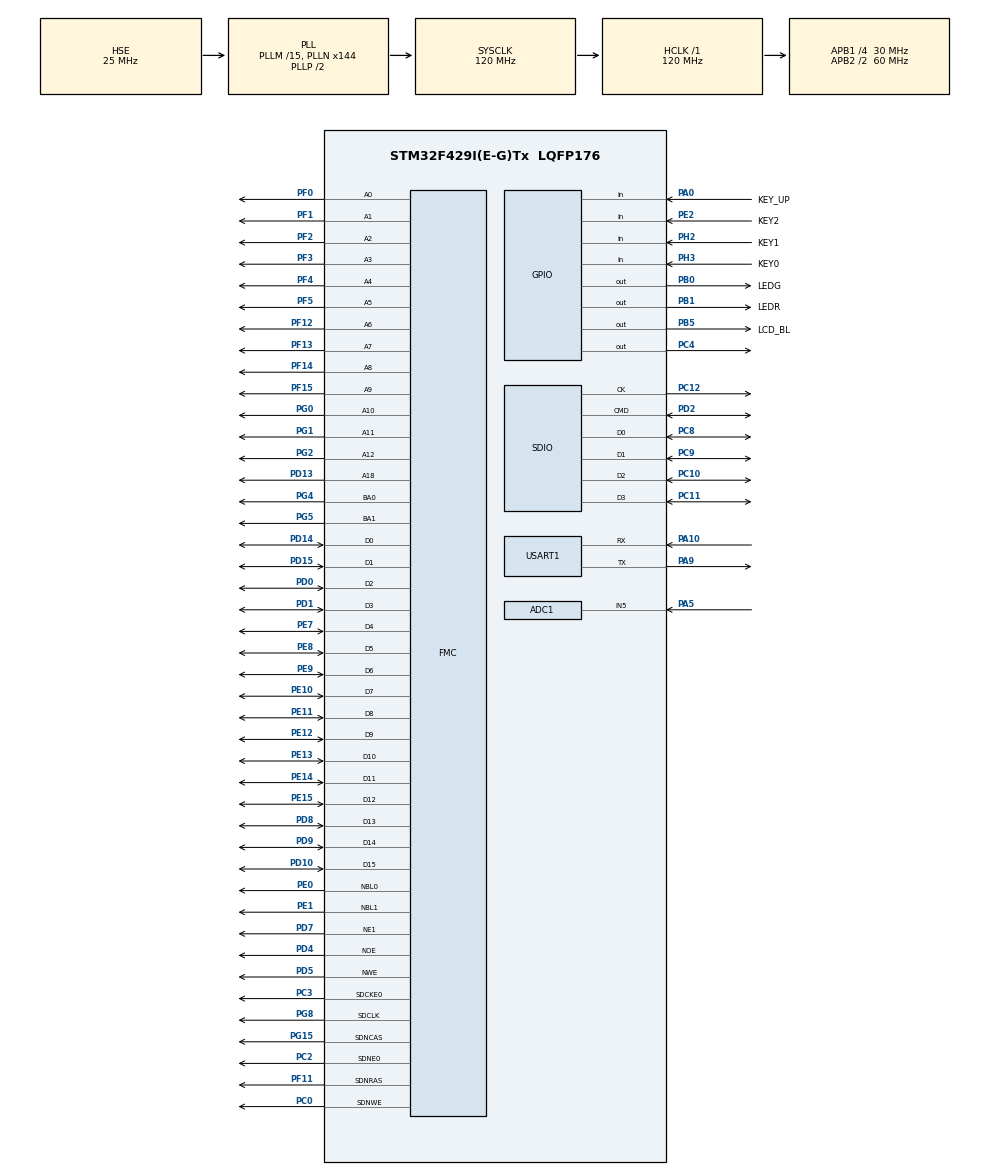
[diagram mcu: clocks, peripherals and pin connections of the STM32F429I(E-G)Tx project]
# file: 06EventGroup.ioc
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ADC1.Channel-0\#ChannelRegularConversion=ADC_CHANNEL_5
ADC1.ExternalTrigConv=ADC_EXTERNALTRIGCONV_T3_TRGO
ADC1.NbrOfConversionFlag=1
ADC1.Rank-0\#ChannelRegularConversion=1
ADC1.SamplingTime-0\#ChannelRegularConversion=ADC_SAMPLETIME_15CYCLES
ADC1.master=1
DMA2D.AlphaModeForeground=DMA2D_REPLACE_ALPHA
DMA2D.ColorMode=DMA2D_OUTPUT_RGB565
DMA2D.InputColorModeBackground=DMA2D_INPUT_RGB565
DMA2D.InputColorModeForeground=DMA2D_INPUT_A4
DMA2D.Mode=DMA2D_M2M_BLEND
Dma.MEMTOMEM.0.Direction=DMA_MEMORY_TO_MEMORY
Dma.MEMTOMEM.0.FIFOMode=DMA_FIFOMODE_ENABLE
Dma.MEMTOMEM.0.FIFOThreshold=DMA_FIFO_THRESHOLD_FULL
Dma.MEMTOMEM.0.Instance=DMA2_Stream0
Dma.MEMTOMEM.0.MemBurst=DMA_MBURST_SINGLE
Dma.MEMTOMEM.0.MemDataAlignment=DMA_MDATAALIGN_HALFWORD
Dma.MEMTOMEM.0.MemInc=DMA_MINC_DISABLE
Dma.MEMTOMEM.0.Mode=DMA_NORMAL
Dma.MEMTOMEM.0.PeriphBurst=DMA_PBURST_SINGLE
Dma.MEMTOMEM.0.PeriphDataAlignment=DMA_PDATAALIGN_HALFWORD
Dma.MEMTOMEM.0.PeriphInc=DMA_PINC_ENABLE
Dma.MEMTOMEM.0.Priority=DMA_PRIORITY_LOW
Dma.Request0=MEMTOMEM
Dma.Request1=SDIO_RX
Dma.Request2=SDIO_TX
Dma.Request3=USART1_RX
Dma.SDIO_RX.1.Direction=DMA_PERIPH_TO_MEMORY
Dma.SDIO_RX.1.FIFOMode=DMA_FIFOMODE_ENABLE
Dma.SDIO_RX.1.FIFOThreshold=DMA_FIFO_THRESHOLD_FULL
Dma.SDIO_RX.1.Instance=DMA2_Stream3
Dma.SDIO_RX.1.MemBurst=DMA_MBURST_INC4
Dma.SDIO_RX.1.MemDataAlignment=DMA_MDATAALIGN_WORD
Dma.SDIO_RX.1.MemInc=DMA_MINC_ENABLE
Dma.SDIO_RX.1.Mode=DMA_PFCTRL
Dma.SDIO_RX.1.PeriphBurst=DMA_PBURST_INC4
Dma.SDIO_RX.1.PeriphDataAlignment=DMA_PDATAALIGN_WORD
Dma.SDIO_RX.1.PeriphInc=DMA_PINC_DISABLE
Dma.SDIO_RX.1.Priority=DMA_PRIORITY_HIGH
Dma.SDIO_TX.2.Direction=DMA_MEMORY_TO_PERIPH
Dma.SDIO_TX.2.FIFOMode=DMA_FIFOMODE_ENABLE
Dma.SDIO_TX.2.FIFOThreshold=DMA_FIFO_THRESHOLD_FULL
Dma.SDIO_TX.2.Instance=DMA2_Stream6
Dma.SDIO_TX.2.MemBurst=DMA_MBURST_INC4
Dma.SDIO_TX.2.MemDataAlignment=DMA_MDATAALIGN_WORD
Dma.SDIO_TX.2.MemInc=DMA_MINC_ENABLE
Dma.SDIO_TX.2.Mode=DMA_PFCTRL
Dma.SDIO_TX.2.PeriphBurst=DMA_PBURST_INC4
Dma.SDIO_TX.2.PeriphDataAlignment=DMA_PDATAALIGN_WORD
Dma.SDIO_TX.2.PeriphInc=DMA_PINC_DISABLE
Dma.SDIO_TX.2.Priority=DMA_PRIORITY_HIGH
Dma.USART1_RX.3.Direction=DMA_PERIPH_TO_MEMORY
Dma.USART1_RX.3.FIFOMode=DMA_FIFOMODE_DISABLE
Dma.USART1_RX.3.Instance=DMA2_Stream2
Dma.USART1_RX.3.MemDataAlignment=DMA_MDATAALIGN_BYTE
Dma.USART1_RX.3.MemInc=DMA_MINC_ENABLE
Dma.USART1_RX.3.Mode=DMA_NORMAL
Dma.USART1_RX.3.PeriphDataAlignment=DMA_PDATAALIGN_BYTE
Dma.USART1_RX.3.PeriphInc=DMA_PINC_DISABLE
Dma.USART1_RX.3.Priority=DMA_PRIORITY_LOW
FATFS._CODE_PAGE=936
FATFS._FS_EXFAT=1
FATFS._FS_LOCK=10
FATFS._FS_REENTRANT=1
FATFS._FS_TINY=1
FATFS._LFN_UNICODE=1
FATFS._MAX_SS=4096
FATFS._USE_LFN=3
FATFS._USE_MUTEX=1
FMC.CASLatency1=FMC_SDRAM_CAS_LATENCY_2
FMC.ColumnBitsNumber1=FMC_SDRAM_COLUMN_BITS_NUM_9
FMC.ExitSelfRefreshDelay1=7
FMC.LoadToActiveDelay1=2
FMC.RPDelay1=2
FMC.RPDelay2=2
FMC.ReadBurst1=FMC_SDRAM_RBURST_ENABLE
FMC.ReadBurst2=FMC_SDRAM_RBURST_ENABLE
FMC.RowCycleDelay1=6
FMC.RowCycleDelay2=6
FMC.SDClockPeriod1=FMC_SDRAM_CLOCK_PERIOD_2
FMC.SDClockPeriod2=FMC_SDRAM_CLOCK_PERIOD_2
FMC.SelfRefreshTime1=4
FMC.WriteRecoveryTime1=2
FREERTOS.BinarySemaphores01=BinarySem_DataReady,Dynamic,NULL,Depleted
FREERTOS.CountingSemaphores01=CountingSem_Table,5,Dynamic,NULL,5
FREERTOS.Events01=xSystemInitEventGroup,Dynamic,NULL;xAppStartEventGroup,Dynamic,NULL
FREERTOS.Tasks01=Task_SYS_INIT,48,1024,AppTask_SYS_INIT,As weak,NULL,Dynamic,NULL,NULL;Task_showADC,8,256,App_Task_showADC,Default,NULL,Dynamic,NULL,NULL;Task_CheckIn,8,512,App_Task_CheckIn,Default,NULL,Dynamic,NULL,NULL
FREERTOS.configGENERATE_RUN_TIME_STATS=1
FREERTOS.configUSE_STATS_FORMATTING_FUNCTIONS=1
Mcu.Family=STM32F4
Mcu.Name=STM32F429I(E-G)Tx
Mcu.Package=LQFP176
NVIC.ADC_IRQn=true\:5\:0\:false\:false\:true\:true\:true\:true\:true
NVIC.DMA2D_IRQn=true\:5\:0\:false\:false\:true\:true\:true\:true\:true
NVIC.DMA2_Stream0_IRQn=true\:5\:0\:false\:false\:true\:true\:true\:true\:true
NVIC.DMA2_Stream2_IRQn=true\:5\:0\:false\:false\:true\:true\:false\:true\:true
NVIC.DMA2_Stream3_IRQn=true\:5\:0\:true\:false\:true\:true\:false\:true\:true
NVIC.DMA2_Stream6_IRQn=true\:5\:0\:false\:false\:true\:true\:false\:true\:true
NVIC.PriorityGroup=NVIC_PRIORITYGROUP_4
NVIC.RTC_WKUP_IRQn=true\:5\:0\:false\:false\:true\:true\:true\:true\:true
NVIC.SDIO_IRQn=true\:5\:0\:false\:false\:true\:true\:true\:true\:true
NVIC.TIM6_DAC_IRQn=true\:4\:0\:true\:false\:true\:false\:false\:true\:true
NVIC.TimeBase=TIM6_DAC_IRQn
NVIC.TimeBaseIP=TIM6
NVIC.USART1_IRQn=true\:5\:0\:false\:false\:true\:true\:true\:true\:true
PA0/WKUP.GPIO_Label=KEY_UP
PA0/WKUP.Signal=GPIO_Input
PA10.Mode=Asynchronous
PA10.Signal=USART1_RX
PA13.Mode=Serial_Wire
PA13.Signal=SYS_JTMS-SWDIO
PA14.Mode=Serial_Wire
PA14.Signal=SYS_JTCK-SWCLK
PA5.Signal=ADCx_IN5
PA9.Mode=Asynchronous
PA9.Signal=USART1_TX
PB0.GPIO_Label=LEDG
PB0.Signal=GPIO_Output
PB1.GPIO_Label=LEDR
PB1.PinState=GPIO_PIN_SET
PB1.Signal=GPIO_Output
PB5.GPIO_Label=LCD_BL
PB5.GPIO_Speed=GPIO_SPEED_FREQ_HIGH
PB5.PinState=GPIO_PIN_SET
PB5.Signal=GPIO_Output
PC0.Signal=FMC_SDNWE
PC10.Mode=SD_4_bits_Wide_bus
PC10.Signal=SDIO_D2
PC11.Mode=SD_4_bits_Wide_bus
PC11.Signal=SDIO_D3
PC12.Mode=SD_4_bits_Wide_bus
PC12.Signal=SDIO_CK
PC14/OSC32_IN.Mode=LSE-External-Oscillator
PC14/OSC32_IN.Signal=RCC_OSC32_IN
PC15/OSC32_OUT.Mode=LSE-External-Oscillator
PC15/OSC32_OUT.Signal=RCC_OSC32_OUT
PC2.Mode=SdramChipSelect1_1
PC2.Signal=FMC_SDNE0
PC3.Mode=SdramChipSelect1_1
PC3.Signal=FMC_SDCKE0
PC4.Signal=GPIO_Output
PC8.Mode=SD_4_bits_Wide_bus
PC8.Signal=SDIO_D0
PC9.Mode=SD_4_bits_Wide_bus
PC9.Signal=SDIO_D1
PD0.Signal=FMC_D2_DA2
PD1.Signal=FMC_D3_DA3
PD10.Signal=FMC_D15_DA15
PD13.Signal=FMC_A18
PD14.Signal=FMC_D0_DA0
PD15.Signal=FMC_D1_DA1
PD2.Mode=SD_4_bits_Wide_bus
PD2.Signal=SDIO_CMD
PD4.Signal=FMC_NOE
PD5.Signal=FMC_NWE
PD7.Mode=NorPsramChipSelect1_1
PD7.Signal=FMC_NE1
PD8.Signal=FMC_D13_DA13
PD9.Signal=FMC_D14_DA14
PE0.Signal=FMC_NBL0
PE1.Signal=FMC_NBL1
PE10.Signal=FMC_D7_DA7
PE11.Signal=FMC_D8_DA8
PE12.Signal=FMC_D9_DA9
PE13.Signal=FMC_D10_DA10
PE14.Signal=FMC_D11_DA11
PE15.Signal=FMC_D12_DA12
PE2.GPIO_Label=KEY2
PE2.Signal=GPIO_Input
PE7.Signal=FMC_D4_DA4
PE8.Signal=FMC_D5_DA5
PE9.Signal=FMC_D6_DA6
PF0.Signal=FMC_A0
PF1.Signal=FMC_A1
PF11.Signal=FMC_SDNRAS
PF12.Signal=FMC_A6
PF13.Signal=FMC_A7
PF14.Signal=FMC_A8
PF15.Signal=FMC_A9
PF2.Signal=FMC_A2
PF3.Signal=FMC_A3
PF4.Signal=FMC_A4
PF5.Signal=FMC_A5
PG0.Signal=FMC_A10
PG1.Signal=FMC_A11
PG15.Signal=FMC_SDNCAS
PG2.Signal=FMC_A12
PG4.Signal=FMC_A14_BA0
PG5.Signal=FMC_A15_BA1
PG8.Signal=FMC_SDCLK
PH0/OSC_IN.Mode=HSE-External-Oscillator
PH0/OSC_IN.Signal=RCC_OSC_IN
PH1/OSC_OUT.Mode=HSE-External-Oscillator
PH1/OSC_OUT.Signal=RCC_OSC_OUT
PH2.GPIO_Label=KEY1
PH2.Signal=GPIO_Input
PH3.GPIO_Label=KEY0
PH3.Signal=GPIO_Input
ProjectManager.HeapSize=0x2000
ProjectManager.StackSize=0x2000
ProjectManager.TargetToolchain=CMake
RCC.48MHZClocksFreq_Value=48000000
RCC.AHBFreq_Value=120000000
RCC.APB1CLKDivider=RCC_HCLK_DIV4
RCC.APB1Freq_Value=30000000
RCC.APB1TimFreq_Value=60000000
RCC.APB2CLKDivider=RCC_HCLK_DIV2
RCC.APB2Freq_Value=60000000
RCC.APB2TimFreq_Value=120000000
RCC.CortexFreq_Value=120000000
RCC.HCLKFreq_Value=120000000
RCC.HSE_VALUE=25000000
RCC.HSI_VALUE=16000000
RCC.PLLM=15
RCC.PLLN=144
RCC.PLLQ=5
RCC.PLLSAIN=100
RCC.PLLSourceVirtual=RCC_PLLSOURCE_HSE
RCC.RCC_RTC_Clock_Source=RCC_RTCCLKSOURCE_LSE
RCC.RCC_RTC_Clock_SourceVirtual=RCC_RTCCLKSOURCE_LSE
RCC.SYSCLKFreq_VALUE=120000000
RCC.SYSCLKSource=RCC_SYSCLKSOURCE_PLLCLK
RCC.VCOOutputFreq_Value=240000000
RTC.WakeUpClock=RTC_WAKEUPCLOCK_CK_SPRE_16BITS
RTC.WakeUpCounter=1
SDIO.ClockDiv=4
SH.ADCx_IN5.0=ADC1_IN5,IN5
SH.FMC_A0.0=FMC_A0,13b-sda1
SH.FMC_A1.0=FMC_A1,13b-sda1
SH.FMC_A10.0=FMC_A10,13b-sda1
SH.FMC_A11.0=FMC_A11,13b-sda1
SH.FMC_A12.0=FMC_A12,13b-sda1
SH.FMC_A14_BA0.0=FMC_BA0,FourSdramBanks1
SH.FMC_A15_BA1.0=FMC_BA1,FourSdramBanks1
SH.FMC_A18.0=FMC_A18,A18_1
SH.FMC_A2.0=FMC_A2,13b-sda1
SH.FMC_A3.0=FMC_A3,13b-sda1
SH.FMC_A4.0=FMC_A4,13b-sda1
SH.FMC_A5.0=FMC_A5,13b-sda1
SH.FMC_A6.0=FMC_A6,13b-sda1
SH.FMC_A7.0=FMC_A7,13b-sda1
SH.FMC_A8.0=FMC_A8,13b-sda1
SH.FMC_A9.0=FMC_A9,13b-sda1
SH.FMC_D0_DA0.0=FMC_D0,16b-d1
SH.FMC_D0_DA0.1=FMC_D0,sd-16b-d1
SH.FMC_D10_DA10.0=FMC_D10,16b-d1
SH.FMC_D10_DA10.1=FMC_D10,sd-16b-d1
SH.FMC_D11_DA11.0=FMC_D11,16b-d1
SH.FMC_D11_DA11.1=FMC_D11,sd-16b-d1
SH.FMC_D12_DA12.0=FMC_D12,16b-d1
SH.FMC_D12_DA12.1=FMC_D12,sd-16b-d1
SH.FMC_D13_DA13.0=FMC_D13,16b-d1
SH.FMC_D13_DA13.1=FMC_D13,sd-16b-d1
SH.FMC_D14_DA14.0=FMC_D14,16b-d1
SH.FMC_D14_DA14.1=FMC_D14,sd-16b-d1
SH.FMC_D15_DA15.0=FMC_D15,16b-d1
SH.FMC_D15_DA15.1=FMC_D15,sd-16b-d1
SH.FMC_D1_DA1.0=FMC_D1,16b-d1
SH.FMC_D1_DA1.1=FMC_D1,sd-16b-d1
SH.FMC_D2_DA2.0=FMC_D2,16b-d1
SH.FMC_D2_DA2.1=FMC_D2,sd-16b-d1
SH.FMC_D3_DA3.0=FMC_D3,16b-d1
SH.FMC_D3_DA3.1=FMC_D3,sd-16b-d1
SH.FMC_D4_DA4.0=FMC_D4,16b-d1
SH.FMC_D4_DA4.1=FMC_D4,sd-16b-d1
SH.FMC_D5_DA5.0=FMC_D5,16b-d1
SH.FMC_D5_DA5.1=FMC_D5,sd-16b-d1
SH.FMC_D6_DA6.0=FMC_D6,16b-d1
SH.FMC_D6_DA6.1=FMC_D6,sd-16b-d1
SH.FMC_D7_DA7.0=FMC_D7,16b-d1
SH.FMC_D7_DA7.1=FMC_D7,sd-16b-d1
SH.FMC_D8_DA8.0=FMC_D8,16b-d1
SH.FMC_D8_DA8.1=FMC_D8,sd-16b-d1
SH.FMC_D9_DA9.0=FMC_D9,16b-d1
SH.FMC_D9_DA9.1=FMC_D9,sd-16b-d1
SH.FMC_NBL0.0=FMC_NBL0,Sd2ByteEnable1
SH.FMC_NBL1.0=FMC_NBL1,Sd2ByteEnable1
SH.FMC_NOE.0=FMC_NOE,Lcd1
SH.FMC_NWE.0=FMC_NWE,Lcd1
SH.FMC_SDCLK.0=FMC_SDCLK,13b-sda1
SH.FMC_SDNCAS.0=FMC_SDNCAS,13b-sda1
SH.FMC_SDNRAS.0=FMC_SDNRAS,13b-sda1
SH.FMC_SDNWE.0=FMC_SDNWE,13b-sda1
TIM3.Period=5000-1
TIM3.Prescaler=6000-1
TIM3.TIM_MasterOutputTrigger=TIM_TRGO_UPDATE
USART1.VirtualMode=VM_ASYNC
VP_DMA2D_VS_DMA2D.Mode=DMA2D_Activate
VP_FATFS_VS_SDIO.Mode=SDIO
VP_FREERTOS_VS_CMSIS_V2.Mode=CMSIS_V2
VP_RTC_VS_RTC_Activate.Mode=RTC_Enabled
VP_RTC_VS_RTC_WakeUp_intern.Mode=WakeUp
VP_SYS_VS_tim6.Mode=TIM6
VP_TIM3_VS_ClockSourceINT.Mode=Internal
board=custom

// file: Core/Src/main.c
/* USER CODE BEGIN Header */
/**
  ******************************************************************************
  * @file           : main.c
  * @brief          : Main program body
  ******************************************************************************
  * @attention
  *
  * Copyright (c) 2026 STMicroelectronics.
  * All rights reserved.
  *
  * This software is licensed under terms that can be found in the LICENSE file
  * in the root directory of this software component.
  * If no LICENSE file comes with this software, it is provided AS-IS.
  *
  ******************************************************************************
  */
/* USER CODE END Header */
#include "main.h"
#include "cmsis_os.h"
#include "adc.h"
#include "dma.h"
#include "dma2d.h"
#include "fatfs.h"
#include "rtc.h"
#include "sdio.h"
#include "tim.h"
#include "usart.h"
#include "gpio.h"
#include "fmc.h"

/* USER CODE BEGIN Includes */
#include "../../ThirdParty/MyLib/myinclude.h"
/* USER CODE END Includes */

void SystemClock_Config(void);
void MX_FREERTOS_Init(void);

int main(void)
{

  /* MCU Configuration--------------------------------------------------------*/

  /* Reset of all peripherals, Initializes the Flash interface and the Systick. */
  HAL_Init();

  /* Configure the system clock */
  SystemClock_Config();

  /* Initialize all configured peripherals */
  MX_GPIO_Init();
  MX_DMA_Init();
  MX_FMC_Init();
  MX_DMA2D_Init();
  MX_SDIO_SD_Init();
  MX_FATFS_Init();
  MX_ADC1_Init();
  MX_TIM3_Init();
  MX_RTC_Init();
  MX_USART1_UART_Init();
  /* USER CODE BEGIN 2 */
  //初始化内容在myfreertos.c的AppTask_SYS_INIT任务中实现
  /* USER CODE END 2 */

  /* Init scheduler */
  osKernelInitialize();  /* Call init function for freertos objects (in cmsis_os2.c) */
  MX_FREERTOS_Init();

  /* Start scheduler */
  osKernelStart();

  /* We should never get here as control is now taken by the scheduler */

  /* Infinite loop */
  while (1)
  {

  }
}

void SystemClock_Config(void)
{
  RCC_OscInitTypeDef RCC_OscInitStruct = {0};
  RCC_ClkInitTypeDef RCC_ClkInitStruct = {0};

  /** Configure the main internal regulator output voltage
  */
  __HAL_RCC_PWR_CLK_ENABLE();
  __HAL_PWR_VOLTAGESCALING_CONFIG(PWR_REGULATOR_VOLTAGE_SCALE3);

  /** Initializes the RCC Oscillators according to the specified parameters
  * in the RCC_OscInitTypeDef structure.
  */
  RCC_OscInitStruct.OscillatorType = RCC_OSCILLATORTYPE_HSE|RCC_OSCILLATORTYPE_LSE;
  RCC_OscInitStruct.HSEState = RCC_HSE_ON;
  RCC_OscInitStruct.LSEState = RCC_LSE_ON;
  RCC_OscInitStruct.PLL.PLLState = RCC_PLL_ON;
  RCC_OscInitStruct.PLL.PLLSource = RCC_PLLSOURCE_HSE;
  RCC_OscInitStruct.PLL.PLLM = 15;
  RCC_OscInitStruct.PLL.PLLN = 144;
  RCC_OscInitStruct.PLL.PLLP = RCC_PLLP_DIV2;
  RCC_OscInitStruct.PLL.PLLQ = 5;
  if (HAL_RCC_OscConfig(&RCC_OscInitStruct) != HAL_OK)
  {
    Error_Handler();
  }

  /** Initializes the CPU, AHB and APB buses clocks
  */
  RCC_ClkInitStruct.ClockType = RCC_CLOCKTYPE_HCLK|RCC_CLOCKTYPE_SYSCLK
                              |RCC_CLOCKTYPE_PCLK1|RCC_CLOCKTYPE_PCLK2;
  RCC_ClkInitStruct.SYSCLKSource = RCC_SYSCLKSOURCE_PLLCLK;
  RCC_ClkInitStruct.AHBCLKDivider = RCC_SYSCLK_DIV1;
  RCC_ClkInitStruct.APB1CLKDivider = RCC_HCLK_DIV4;
  RCC_ClkInitStruct.APB2CLKDivider = RCC_HCLK_DIV2;

  if (HAL_RCC_ClockConfig(&RCC_ClkInitStruct, FLASH_LATENCY_3) != HAL_OK)
  {
    Error_Handler();
  }
}

void HAL_TIM_PeriodElapsedCallback(TIM_HandleTypeDef *htim)
{
  if (htim->Instance == TIM6)
  {
    HAL_IncTick();
  }
}

void Error_Handler(void)
{
  __disable_irq();
  while (1)
  {
  }
}

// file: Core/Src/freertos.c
/* USER CODE BEGIN Header */
/**
  ******************************************************************************
  * File Name          : freertos.c
  * Description        : Code for freertos applications
  ******************************************************************************
  * @attention
  *
  * Copyright (c) 2026 STMicroelectronics.
  * All rights reserved.
  *
  * This software is licensed under terms that can be found in the LICENSE file
  * in the root directory of this software component.
  * If no LICENSE file comes with this software, it is provided AS-IS.
  *
  ******************************************************************************
  */
/* USER CODE END Header */

#include "FreeRTOS.h"
#include "task.h"
#include "main.h"
#include "cmsis_os.h"

/* USER CODE BEGIN Includes */
#include "../../ThirdParty/MyLib/myinclude.h"
#include "rtc.h"
#include "semphr.h"
#include "event_groups.h"
#include <stdint.h>
#include <stdio.h>

/* USER CODE END Includes */

/* USER CODE BEGIN Variables */
uint32_t adc_value = 0;

/* USER CODE END Variables */
/* Definitions for Task_SYS_INIT */
osThreadId_t Task_SYS_INITHandle;
const osThreadAttr_t Task_SYS_INIT_attributes = {
  .name = "Task_SYS_INIT",
  .stack_size = 1024 * 4,
  .priority = (osPriority_t) osPriorityRealtime,
};
/* Definitions for Task_showADC */
osThreadId_t Task_showADCHandle;
const osThreadAttr_t Task_showADC_attributes = {
  .name = "Task_showADC",
  .stack_size = 256 * 4,
  .priority = (osPriority_t) osPriorityLow,
};
/* Definitions for Task_CheckIn */
osThreadId_t Task_CheckInHandle;
const osThreadAttr_t Task_CheckIn_attributes = {
  .name = "Task_CheckIn",
  .stack_size = 512 * 4,
  .priority = (osPriority_t) osPriorityLow,
};
/* Definitions for BinarySem_DataReady */
osSemaphoreId_t BinarySem_DataReadyHandle;
const osSemaphoreAttr_t BinarySem_DataReady_attributes = {
  .name = "BinarySem_DataReady"
};
/* Definitions for CountingSem_Table */
osSemaphoreId_t CountingSem_TableHandle;
const osSemaphoreAttr_t CountingSem_Table_attributes = {
  .name = "CountingSem_Table"
};
/* Definitions for xSystemInitEventGroup */
osEventFlagsId_t xSystemInitEventGroupHandle;
const osEventFlagsAttr_t xSystemInitEventGroup_attributes = {
  .name = "xSystemInitEventGroup"
};
/* Definitions for xAppStartEventGroup */
osEventFlagsId_t xAppStartEventGroupHandle;
const osEventFlagsAttr_t xAppStartEventGroup_attributes = {
  .name = "xAppStartEventGroup"
};

void AppTask_SYS_INIT(void *argument);
void App_Task_showADC(void *argument);
void App_Task_CheckIn(void *argument);

void MX_FREERTOS_Init(void); /* (MISRA C 2004 rule 8.1) */

/* Hook prototypes */
void configureTimerForRunTimeStats(void);
unsigned long getRunTimeCounterValue(void);

/* USER CODE BEGIN 1 */
/* Functions needed when configGENERATE_RUN_TIME_STATS is on */
__weak void configureTimerForRunTimeStats(void)
{

}

__weak unsigned long getRunTimeCounterValue(void)
{
return 0;
}
/* USER CODE END 1 */

void MX_FREERTOS_Init(void) {

  /* Create the semaphores(s) */
  /* creation of BinarySem_DataReady */
  BinarySem_DataReadyHandle = osSemaphoreNew(1, 0, &BinarySem_DataReady_attributes);

  /* creation of CountingSem_Table */
  CountingSem_TableHandle = osSemaphoreNew(5, 5, &CountingSem_Table_attributes);

  /* Create the thread(s) */
  /* creation of Task_SYS_INIT */
  Task_SYS_INITHandle = osThreadNew(AppTask_SYS_INIT, NULL, &Task_SYS_INIT_attributes);

  /* creation of Task_showADC */
  Task_showADCHandle = osThreadNew(App_Task_showADC, NULL, &Task_showADC_attributes);

  /* creation of Task_CheckIn */
  Task_CheckInHandle = osThreadNew(App_Task_CheckIn, NULL, &Task_CheckIn_attributes);

  /* Create the event(s) */
  /* creation of xSystemInitEventGroup */
  xSystemInitEventGroupHandle = osEventFlagsNew(&xSystemInitEventGroup_attributes);

  /* creation of xAppStartEventGroup */
  xAppStartEventGroupHandle = osEventFlagsNew(&xAppStartEventGroup_attributes);

}

__weak void AppTask_SYS_INIT(void *argument)
{
  for(;;)
  {
    osDelay(1);
  }
}

void App_Task_showADC(void *argument)
{
  /* USER CODE BEGIN App_Task_showADC */
  //等待ADC初始化完成、定时器3初始化完成、SD卡挂载完成、EUBF初始化完成、DMA2D初始化完成、LCD初始化完成
  xEventGroupWaitBits(xSystemInitEventGroupHandle,
                        SYSTEM_INIT_EVENT_ADC_READY |
                        SYSTEM_INIT_EVENT_TIM3_READY |
                        SYSTEM_INIT_EVENT_SD_MOUNTED |
                        SYSTEM_INIT_EVENT_EUBF_READY |
                        SYSTEM_INIT_EVENT_DMA2D_READY |
                        SYSTEM_INIT_EVENT_LCD_READY,
                        pdFALSE,
                        pdTRUE,
                        portMAX_DELAY);

  lcd_dma2d_show_eubf_str(0, 32,(char*)"ADC Value:", "BoutiqueBitmap7x7_Circle_Dot", 30, WHITE);
  // 等待应用启动完成
  xEventGroupSync(xAppStartEventGroupHandle,
                  1 << 0, // APP_START_EVENT_SHOW_ADC_READY
                  (1 << 0)|(1 << 1), // APP_START_EVENT_SHOW_ADC_READY | APP_START_EVENT_SHOW_CHECKIN_READY
                  portMAX_DELAY);
  /* Infinite loop */
  for(;;)
  {
    // 等待数据准备就绪
    if(xSemaphoreTake(BinarySem_DataReadyHandle, portMAX_DELAY) == pdTRUE){
      // 数据已准备好，继续执行
      // 显示ADC值
      char adc_str[16];
      // 格式化输出，保留4位
      snprintf(adc_str, sizeof(adc_str), "%04lu", adc_value);
      // 转换为RGB565颜色
      uint16_t rgb565 = (uint16_t)((((adc_value >> 8) & 0xF) * 0x21 << 10) | (((adc_value >> 4) & 0xF) * 0x44 << 4) | ((adc_value & 0xF) * 0x21 >> 4));

      lcd_dma2d_fill(0, 32, 160, 65, BLACK);
      lcd_dma2d_show_eubf_str(0, 64,(char*)adc_str, "BoutiqueBitmap7x7_Circle_Dot", 32, rgb565);
      lcd_dma2d_update_screen();
      osDelay(1);
    }
    osDelay(1);

  }
  /* USER CODE END App_Task_showADC */
}

void App_Task_CheckIn(void *argument)
{
  /* USER CODE BEGIN App_Task_CheckIn */
  //等待SD卡挂载完成、EUBF初始化完成、DMA2D初始化完成、LCD初始化完成
  xEventGroupWaitBits(xSystemInitEventGroupHandle,
                        SYSTEM_INIT_EVENT_SD_MOUNTED |
                        SYSTEM_INIT_EVENT_EUBF_READY |
                        SYSTEM_INIT_EVENT_DMA2D_READY |
                        SYSTEM_INIT_EVENT_LCD_READY,
                        pdFALSE,
                        pdTRUE,
                        portMAX_DELAY);

  char temp_str[30];
  UBaseType_t last_count = 0xFFFFFFFF;
  UBaseType_t current_count = 0;

  osDelay(1500);

  sprintf(temp_str, "%lu", uxSemaphoreGetCount(CountingSem_TableHandle));

  // 等待应用启动完成
  xEventGroupSync(xAppStartEventGroupHandle,
                  1 << 1, // APP_START_EVENT_SHOW_CHECKIN_READY
                  (1 << 0)|(1 << 1), // APP_START_EVENT_SHOW_ADC_READY | APP_START_EVENT_SHOW_CHECKIN_READY
                  portMAX_DELAY);
  // 第一行：Y=32 (0~32)
  lcd_dma2d_show_eubf_str(160, 32, (char*)"TOTAL_TABLE:", "BoutiqueBitmap7x7_Scan_Line", 22, YELLOW);
  // 第二行：Y=64 (32~64)
  lcd_dma2d_show_eubf_str(160, 64, temp_str, "BoutiqueBitmap7x7_Scan_Line", 32, YELLOW);
  // 第三行：Y=96 (64~96)
  lcd_dma2d_show_eubf_str(160, 96, (char*)"AVAILABLE:", "BoutiqueBitmap7x7_Scan_Line", 24, RED);

  // 第一次推送到屏幕
  lcd_dma2d_update_screen();

  /* Infinite loop */
  for(;;)
  {

    // 按键处理
    if(myGetKeyPressStateByID(KEY_UP)){
      // 清除第五行 (占据 128~160)
      lcd_dma2d_fill(160, 128, 320, 160+1, BLACK);

      if(xSemaphoreTake(CountingSem_TableHandle, 100) == pdTRUE){
        lcd_dma2d_show_eubf_str(160, 160, (char*)"CheckIn OK", "BoutiqueBitmap7x7_Scan_Line", 24, GREEN);
      } else {
        lcd_dma2d_show_eubf_str(160, 160, (char*)"CheckIn Failed", "BoutiqueBitmap7x7_Scan_Line", 24, RED);
      }
      lcd_dma2d_update_screen();
    }

    // 按需刷新
    current_count = uxSemaphoreGetCount(CountingSem_TableHandle);
    if(current_count != last_count)
    {
      sprintf(temp_str, "%lu", (unsigned long)current_count);

      // 清除第四行 (占据 96~128)
      lcd_dma2d_fill(160, 96, 320, 128+1, BLACK);
      // 绘制第四行数字
      lcd_dma2d_show_eubf_str(160, 128, temp_str, "BoutiqueBitmap7x7_Scan_Line", 32, current_count?GREEN:RED);

      lcd_dma2d_update_screen();
      last_count = current_count;
    }

    osDelay(100);

  }
  /* USER CODE END App_Task_CheckIn */
}

/* USER CODE BEGIN Application */
void HAL_ADC_ConvCpltCallback(ADC_HandleTypeDef *hadc){
  if(hadc->Instance == ADC1){
    adc_value = HAL_ADC_GetValue(hadc);
    //printf("ADC Conversion Completed!\r\n");
    BaseType_t highter_priority_task_woken = pdFALSE;
    if(BinarySem_DataReadyHandle != NULL){// 确保信号量已创建
      // 释放信号量，通知显示任务数据已准备好
      xSemaphoreGiveFromISR(BinarySem_DataReadyHandle, &highter_priority_task_woken);
      portYIELD_FROM_ISR(highter_priority_task_woken);
    }

  }
}

void HAL_RTCEx_WakeUpTimerEventCallback(RTC_HandleTypeDef *hrtc){
  // 这里可以添加定时器事件处理代码
  //释放计数信号量
  if(CountingSem_TableHandle != NULL){ // 确保信号量已创建
    BaseType_t highter_priority_task_woken = pdFALSE;
    xSemaphoreGiveFromISR(CountingSem_TableHandle, &highter_priority_task_woken);
    portYIELD_FROM_ISR(highter_priority_task_woken);
  }
}
/* USER CODE END Application */
